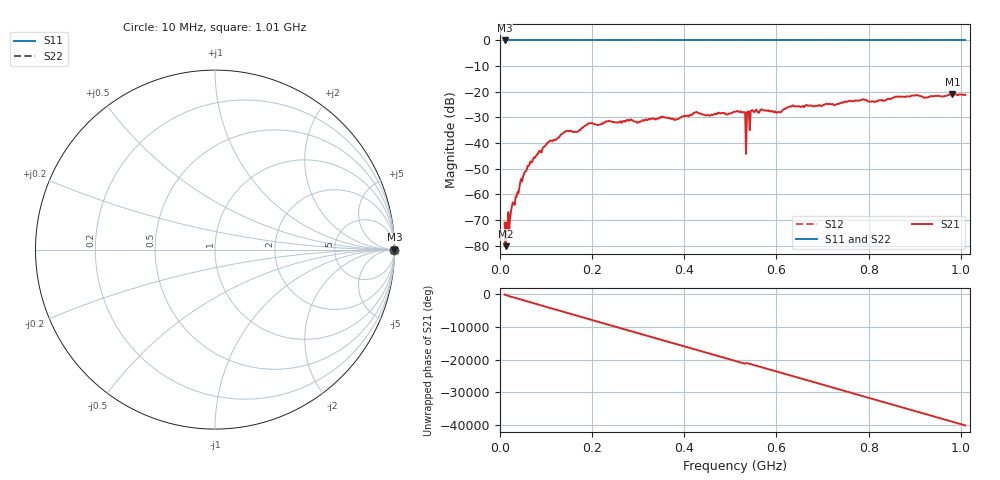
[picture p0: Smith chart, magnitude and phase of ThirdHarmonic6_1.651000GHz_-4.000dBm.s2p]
! 8/16/2025 7:45:48 PM
! C:\ANRITSUVNA\TEMP\TEMP.S2P
! CHANNEL.1
! TR.MEASUREMENT
! RAW.DATA
! RF.CORRECTION.OFF
! AVERAGING.OFF
! IF.BANDWIDTH: 5KHZ
! SWEEPTYPE:  FREQ.SWEEP(Linear)
! Reference Plane Port Info
! PORT:  PORT1  PORT2
! DISTANCE:  0  m  0  m
! TIME:  0  s  0  s
! PHASE.OFFSET:  0  deg.  0  deg.
! LOSS:  0  dB  0  dB
! REF.LOSS:  0  dB  0  dB
! REF.FREQ:  0  Hz  0  Hz
! Power Info
! POWER:  -20  dBm  -20  dBm
! EFF.POWER:  -20  dBm  -20  dBm
! SOURCE.ATTEN:  0  dB  0  dB
! TEST.ATTEN:  0  dB  0  dB
# GHZ S RI R 50.0
! FREQ.GHZ  S11RE  S11IM  S21RE  S21IM  S12RE  S12IM  S22RE  S22IM
!; PortSelection: Port_12
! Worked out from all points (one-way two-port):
!   501 points, 10 MHz to 1.01 GHz, reference 50 ohm
!   highest |S21| = -20.80 dB at 982 MHz (marker M1); lowest = -80.2 dB at 12 MHz (marker M2)
!   lowest |S11| = 0.0 dB at 10 MHz (marker M3)
!   |S11| at or under -10 dB: nowhere
!   |S22| runs from 0.0 to 0.0 dB; largest |S21 - S12| = 1.1
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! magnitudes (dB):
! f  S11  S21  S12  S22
! 10 MHz  0.0  -71.0  0.0  0.0
! 12 MHz  0.0  -80.2  0.0  0.0
! 16 MHz  0.0  -73.6  0.0  0.0
! 26 MHz  0.0  -64.5  0.0  0.0
! 48 MHz  0.0  -55.0  0.0  0.0
! 70 MHz  0.0  -47.3  0.0  0.0
! 106 MHz  0.0  -39.6  0.0  0.0
! 142 MHz  0.0  -35.5  0.0  0.0
! 178 MHz  0.0  -34.1  0.0  0.0
! 196 MHz  0.0  -32.4  0.0  0.0
! 344 MHz  0.0  -30.5  0.0  0.0
! 510 MHz  0.0  -27.8  0.0  0.0
! 528 MHz  0.0  -27.9  0.0  0.0
! 530 MHz  0.0  -27.9  0.0  0.0
! 538 MHz  0.0  -27.7  0.0  0.0
! 540 MHz  0.0  -27.7  0.0  0.0
! 548 MHz  0.0  -27.2  0.0  0.0
! 604 MHz  0.0  -27.9  0.0  0.0
! 678 MHz  0.0  -25.6  0.0  0.0
! 844 MHz  0.0  -22.7  0.0  0.0
! 982 MHz  0.0  -20.8  0.0  0.0
! 1.01 GHz  0.0  -21.1  0.0  0.0
